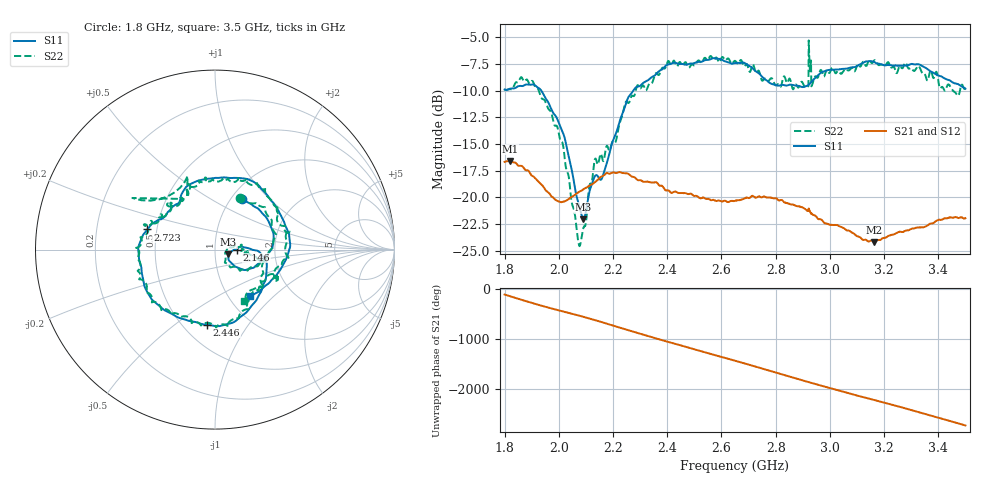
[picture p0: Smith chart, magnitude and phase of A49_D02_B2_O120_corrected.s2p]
! Created with skrf 1.9.0 (http://scikit-rf.org).
# Hz S RI R 50.0
!freq ReS11 ImS11 ReS21 ImS21 ReS12 ImS12 ReS22 ImS22
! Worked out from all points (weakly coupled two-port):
!   1601 points, 1.8 GHz to 3.5 GHz, reference 50 ohm
!   highest |S21| = -16.60 dB at 1.82 GHz (marker M1); lowest = -24.2 dB at 3.162 GHz (marker M2)
!   lowest |S11| = -22.1 dB at 2.09 GHz (marker M3), VSWR 1.17, Z = 57.9 - j3.14 ohm
!   |S11| at or under -10 dB: 1.935 GHz to 2.275 GHz (340 MHz wide, 16.2 % of centre)
!   |S22| runs from -24.6 to -5.3 dB; largest |S21 - S12| = 0.0025
!   S11 on the Smith chart (normalised r, x): 1.8 GHz: 1.12, +0.71; 2.146 GHz: 1.28, +0.00; 2.446 GHz: 0.65, -0.66; 2.723 GHz: 0.44, +0.12; 3.5 GHz: 1.26, -0.72
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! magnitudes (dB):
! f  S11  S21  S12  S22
! 1.8 GHz  -9.9  -16.7  -16.7  -9.9
! 1.82 GHz  -9.8  -16.6  -16.6  -9.9
! 1.902 GHz  -9.4  -18.0  -18.0  -9.1
! 1.968 GHz  -11.5  -19.7  -19.8  -11.9
! 2.02 GHz  -14.3  -20.4  -20.4  -16.0
! 2.071 GHz  -20.4  -19.6  -19.6  -24.1
! 2.084 GHz  -21.6  -19.4  -19.3  -23.8
! 2.09 GHz  -22.1  -19.3  -19.3  -23.0
! 2.129 GHz  -18.3  -18.7  -18.7  -17.0
! 2.146 GHz  -18.1  -18.3  -18.3  -16.8
! 2.209 GHz  -14.1  -17.7  -17.7  -14.8
! 2.258 GHz  -10.6  -17.8  -17.8  -11.2
! 2.367 GHz  -8.2  -18.8  -18.8  -8.5
! 2.446 GHz  -7.5  -19.6  -19.6  -7.3
! 2.65 GHz  -7.4  -20.3  -20.3  -7.2
! 2.723 GHz  -8.1  -20.0  -19.9  -8.1
! 2.812 GHz  -9.5  -20.3  -20.2  -9.5
! 2.934 GHz  -9.1  -21.6  -21.5  -9.5
! 3.162 GHz  -7.3  -24.2  -24.1  -7.2
! 3.217 GHz  -7.6  -23.6  -23.6  -7.4
! 3.329 GHz  -7.5  -22.8  -22.8  -7.7
! 3.5 GHz  -9.8  -22.0  -22.0  -9.7
